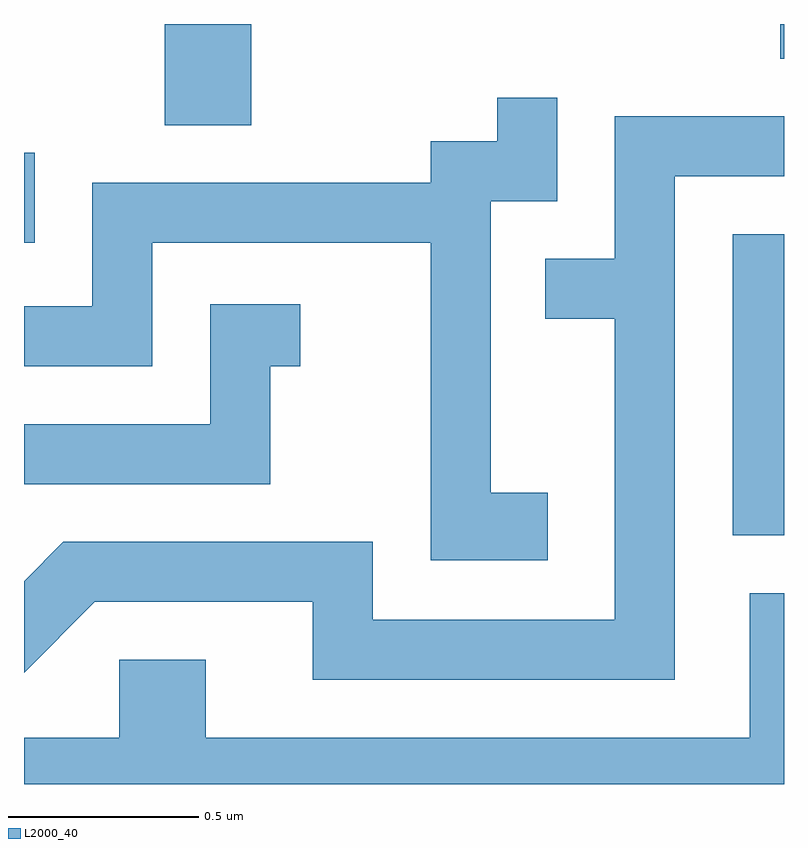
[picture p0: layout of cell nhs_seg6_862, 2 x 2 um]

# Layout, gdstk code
import gdstk
lib = gdstk.Library(unit=1e-6, precision=1e-09)
def R(c, l, rs):  # rectangles x0, y0, x1, y1
    for r in rs: c.add(gdstk.rectangle(r[:2], r[2:], *l))
def P(c, l, *ps):  # polygons
    for p in ps: c.add(gdstk.Polygon(p, *l))
L2000_40 = (2000, 40)

nhs_seg6_862 = lib.new_cell('nhs_seg6_862')
R(nhs_seg6_862, L2000_40, [(193.476,1570.816,193.611,1571.609), (191.611,1571.586,191.639,1571.823), (191.981,1571.896,192.209,1572.162), (193.601,1572.071,193.611,1572.162)])
P(nhs_seg6_862, L2000_40, [(192.989,1570.929),(192.839,1570.929),(192.839,1571.696),(193.014,1571.696),(193.014,1571.968),(192.856,1571.968),(192.856,1571.854),(192.681,1571.854),(192.681,1571.744),(191.791,1571.744),(191.791,1571.419),(191.611,1571.419),(191.611,1571.261),(191.949,1571.261),(191.949,1571.586),(192.681,1571.586),(192.681,1570.751),(192.989,1570.751)],
  [(193.324,1571.761),(193.611,1571.761),(193.611,1571.919),(193.166,1571.919),(193.166,1571.544),(192.983,1571.544),(192.983,1571.386),(193.166,1571.386),(193.166,1570.594),(192.529,1570.594),(192.529,1570.799),(191.714,1570.799),(191.611,1570.696),(191.611,1570.455),(191.797,1570.641),(192.371,1570.641),(192.371,1570.436),(193.324,1570.436)],
  [(192.259,1571.261),(192.338,1571.261),(192.338,1571.424),(192.101,1571.424),(192.101,1571.109),(191.611,1571.109),(191.611,1570.951),(192.259,1570.951)],
  [(193.611,1570.664),(193.521,1570.664),(193.521,1570.284),(192.089,1570.284),(192.089,1570.489),(191.861,1570.489),(191.861,1570.284),(191.611,1570.284),(191.611,1570.162),(193.611,1570.162)])

lib.write_gds('nhs_seg6_862.gds')
